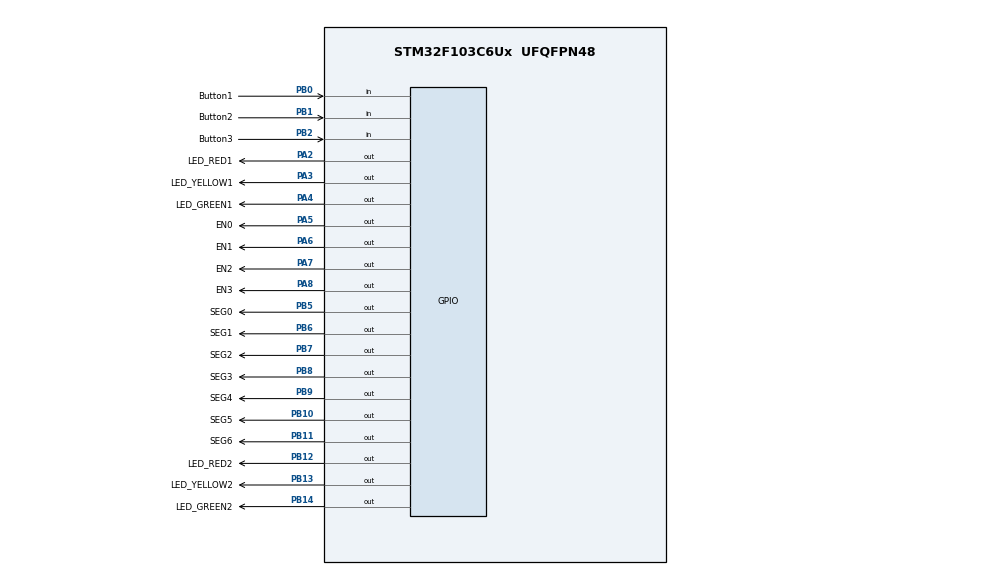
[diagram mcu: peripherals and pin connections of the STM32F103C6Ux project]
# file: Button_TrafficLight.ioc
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Mcu.Family=STM32F1
Mcu.Name=STM32F103C6Ux
Mcu.Package=UFQFPN48
NVIC.PriorityGroup=NVIC_PRIORITYGROUP_4
NVIC.TIM2_IRQn=true\:0\:0\:false\:false\:true\:true\:true
PA0-WKUP.Mode=SYS_WakeUp0
PA0-WKUP.Signal=SYS_WKUP
PA13.Mode=Serial_Wire
PA13.Signal=SYS_JTMS-SWDIO
PA14.Mode=Serial_Wire
PA14.Signal=SYS_JTCK-SWCLK
PA2.GPIO_Label=LED_RED1
PA2.Signal=GPIO_Output
PA3.GPIO_Label=LED_YELLOW1
PA3.Signal=GPIO_Output
PA4.GPIO_Label=LED_GREEN1
PA4.Signal=GPIO_Output
PA5.GPIO_Label=EN0
PA5.Signal=GPIO_Output
PA6.GPIO_Label=EN1
PA6.Signal=GPIO_Output
PA7.GPIO_Label=EN2
PA7.Signal=GPIO_Output
PA8.GPIO_Label=EN3
PA8.Signal=GPIO_Output
PB0.GPIO_Label=Button1
PB0.GPIO_PuPd=GPIO_PULLUP
PB0.Signal=GPIO_Input
PB1.GPIO_Label=Button2
PB1.GPIO_PuPd=GPIO_PULLUP
PB1.Signal=GPIO_Input
PB10.GPIO_Label=SEG5
PB10.Signal=GPIO_Output
PB11.GPIO_Label=SEG6
PB11.Signal=GPIO_Output
PB12.GPIO_Label=LED_RED2
PB12.Signal=GPIO_Output
PB13.GPIO_Label=LED_YELLOW2
PB13.Signal=GPIO_Output
PB14.GPIO_Label=LED_GREEN2
PB14.Signal=GPIO_Output
PB2.GPIO_Label=Button3
PB2.GPIO_PuPd=GPIO_PULLUP
PB2.Signal=GPIO_Input
PB5.GPIO_Label=SEG0
PB5.Signal=GPIO_Output
PB6.GPIO_Label=SEG1
PB6.Signal=GPIO_Output
PB7.GPIO_Label=SEG2
PB7.Signal=GPIO_Output
PB8.GPIO_Label=SEG3
PB8.Signal=GPIO_Output
PB9.GPIO_Label=SEG4
PB9.Signal=GPIO_Output
ProjectManager.HeapSize=0x200
ProjectManager.StackSize=0x400
ProjectManager.TargetToolchain=STM32CubeIDE
RCC.APB1Freq_Value=8000000
RCC.APB2Freq_Value=8000000
TIM2.Period=9
TIM2.Prescaler=7999
VP_TIM2_VS_ClockSourceINT.Mode=Internal
board=custom

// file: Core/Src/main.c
/* USER CODE BEGIN Header */
/**
  ******************************************************************************
  * @file           : main.c
  * @brief          : Main program body
  ******************************************************************************
  * @attention
  *
  * <h2><center>&copy; Copyright (c) 2025 STMicroelectronics.
  * All rights reserved.</center></h2>
  *
  * This software component is licensed by ST under BSD 3-Clause license,
  * the "License"; You may not use this file except in compliance with the
  * License. You may obtain a copy of the License at:
  *                        opensource.org/licenses/BSD-3-Clause
  *
  ******************************************************************************
  */
/* USER CODE END Header */
#include "main.h"

/* USER CODE BEGIN Includes */
#include "Process.h"

/* USER CODE END Includes */

TIM_HandleTypeDef htim2;

/* USER CODE BEGIN PV */
btn_typedef btn[N0_OF_BUTTONS];
RGB_TrafficLight_t tl1;
RGB_TrafficLight_t tl2;
/* USER CODE END PV */

void SystemClock_Config(void);
static void MX_GPIO_Init(void);
static void MX_TIM2_Init(void);

int main(void)
{

  /* MCU Configuration--------------------------------------------------------*/

  /* Reset of all peripherals, Initializes the Flash interface and the Systick. */
  HAL_Init();

  /* Configure the system clock */
  SystemClock_Config();

  /* USER CODE BEGIN SysInit */

  //************************ RGB LEDs Init ********************************//
  RGB_TrafficLight_Init(&tl1, LED_RED1_Pin, LED_YELLOW1_Pin, LED_GREEN1_Pin,
  	LED_RED1_GPIO_Port, LED_YELLOW1_GPIO_Port, LED_GREEN1_GPIO_Port);
  RGB_TrafficLight_Init(&tl2, LED_RED2_Pin, LED_YELLOW2_Pin, LED_GREEN2_Pin,
	LED_RED2_GPIO_Port, LED_YELLOW2_GPIO_Port, LED_GREEN2_GPIO_Port);
//
//  //************************ Button Init ********************************//
  Button_Init(&btn[0], Button1_Pin, Button1_GPIO_Port);
  Button_Init(&btn[1], Button2_Pin, Button2_GPIO_Port);
  Button_Init(&btn[2], Button3_Pin, Button3_GPIO_Port);

  /* USER CODE END SysInit */

  /* Initialize all configured peripherals */
  MX_GPIO_Init();
  MX_TIM2_Init();
  /* USER CODE BEGIN 2 */
  	HAL_TIM_Base_Start_IT(&htim2);
  	settimer_index(0, 10);
	settimer_index(1, 10);
	settimer_index(2, 10);

  /* USER CODE END 2 */

  /* Infinite loop */
  /* USER CODE BEGIN WHILE */
  while (1)
  {
//	  fsm_processing_trafficlight(&tl1, &tl2);
	  fsm_processing_system(btn, &tl1, &tl2);
    /* USER CODE END WHILE */

  }
}

void SystemClock_Config(void)
{
  RCC_OscInitTypeDef RCC_OscInitStruct = {0};
  RCC_ClkInitTypeDef RCC_ClkInitStruct = {0};

  /** Initializes the RCC Oscillators according to the specified parameters
  * in the RCC_OscInitTypeDef structure.
  */
  RCC_OscInitStruct.OscillatorType = RCC_OSCILLATORTYPE_HSI;
  RCC_OscInitStruct.HSIState = RCC_HSI_ON;
  RCC_OscInitStruct.HSICalibrationValue = RCC_HSICALIBRATION_DEFAULT;
  RCC_OscInitStruct.PLL.PLLState = RCC_PLL_NONE;
  if (HAL_RCC_OscConfig(&RCC_OscInitStruct) != HAL_OK)
  {
    Error_Handler();
  }
  /** Initializes the CPU, AHB and APB buses clocks
  */
  RCC_ClkInitStruct.ClockType = RCC_CLOCKTYPE_HCLK|RCC_CLOCKTYPE_SYSCLK
                              |RCC_CLOCKTYPE_PCLK1|RCC_CLOCKTYPE_PCLK2;
  RCC_ClkInitStruct.SYSCLKSource = RCC_SYSCLKSOURCE_HSI;
  RCC_ClkInitStruct.AHBCLKDivider = RCC_SYSCLK_DIV1;
  RCC_ClkInitStruct.APB1CLKDivider = RCC_HCLK_DIV1;
  RCC_ClkInitStruct.APB2CLKDivider = RCC_HCLK_DIV1;

  if (HAL_RCC_ClockConfig(&RCC_ClkInitStruct, FLASH_LATENCY_0) != HAL_OK)
  {
    Error_Handler();
  }
}

static void MX_TIM2_Init(void)
{

  TIM_ClockConfigTypeDef sClockSourceConfig = {0};
  TIM_MasterConfigTypeDef sMasterConfig = {0};

  htim2.Instance = TIM2;
  htim2.Init.Prescaler = 7999;
  htim2.Init.CounterMode = TIM_COUNTERMODE_UP;
  htim2.Init.Period = 9;
  htim2.Init.ClockDivision = TIM_CLOCKDIVISION_DIV1;
  htim2.Init.AutoReloadPreload = TIM_AUTORELOAD_PRELOAD_DISABLE;
  if (HAL_TIM_Base_Init(&htim2) != HAL_OK)
  {
    Error_Handler();
  }
  sClockSourceConfig.ClockSource = TIM_CLOCKSOURCE_INTERNAL;
  if (HAL_TIM_ConfigClockSource(&htim2, &sClockSourceConfig) != HAL_OK)
  {
    Error_Handler();
  }
  sMasterConfig.MasterOutputTrigger = TIM_TRGO_RESET;
  sMasterConfig.MasterSlaveMode = TIM_MASTERSLAVEMODE_DISABLE;
  if (HAL_TIMEx_MasterConfigSynchronization(&htim2, &sMasterConfig) != HAL_OK)
  {
    Error_Handler();
  }

}

static void MX_GPIO_Init(void)
{
  GPIO_InitTypeDef GPIO_InitStruct = {0};

  /* GPIO Ports Clock Enable */
  __HAL_RCC_GPIOA_CLK_ENABLE();
  __HAL_RCC_GPIOB_CLK_ENABLE();

  /*Configure GPIO pin Output Level */
  HAL_GPIO_WritePin(GPIOA, LED_RED1_Pin|LED_YELLOW1_Pin|LED_GREEN1_Pin|EN0_Pin
                          |EN1_Pin|EN2_Pin|EN3_Pin, GPIO_PIN_RESET);

  /*Configure GPIO pin Output Level */
  HAL_GPIO_WritePin(GPIOB, SEG5_Pin|SEG6_Pin|LED_RED2_Pin|LED_YELLOW2_Pin
                          |LED_GREEN2_Pin|SEG0_Pin|SEG1_Pin|SEG2_Pin
                          |SEG3_Pin|SEG4_Pin, GPIO_PIN_RESET);

  /*Configure GPIO pins : LED_RED1_Pin LED_YELLOW1_Pin LED_GREEN1_Pin EN0_Pin
                           EN1_Pin EN2_Pin EN3_Pin */
  GPIO_InitStruct.Pin = LED_RED1_Pin|LED_YELLOW1_Pin|LED_GREEN1_Pin|EN0_Pin
                          |EN1_Pin|EN2_Pin|EN3_Pin;
  GPIO_InitStruct.Mode = GPIO_MODE_OUTPUT_PP;
  GPIO_InitStruct.Pull = GPIO_NOPULL;
  GPIO_InitStruct.Speed = GPIO_SPEED_FREQ_LOW;
  HAL_GPIO_Init(GPIOA, &GPIO_InitStruct);

  /*Configure GPIO pins : Button1_Pin Button2_Pin Button3_Pin */
  GPIO_InitStruct.Pin = Button1_Pin|Button2_Pin|Button3_Pin;
  GPIO_InitStruct.Mode = GPIO_MODE_INPUT;
  GPIO_InitStruct.Pull = GPIO_PULLUP;
  HAL_GPIO_Init(GPIOB, &GPIO_InitStruct);

  /*Configure GPIO pins : SEG5_Pin SEG6_Pin LED_RED2_Pin LED_YELLOW2_Pin
                           LED_GREEN2_Pin SEG0_Pin SEG1_Pin SEG2_Pin
                           SEG3_Pin SEG4_Pin */
  GPIO_InitStruct.Pin = SEG5_Pin|SEG6_Pin|LED_RED2_Pin|LED_YELLOW2_Pin
                          |LED_GREEN2_Pin|SEG0_Pin|SEG1_Pin|SEG2_Pin
                          |SEG3_Pin|SEG4_Pin;
  GPIO_InitStruct.Mode = GPIO_MODE_OUTPUT_PP;
  GPIO_InitStruct.Pull = GPIO_NOPULL;
  GPIO_InitStruct.Speed = GPIO_SPEED_FREQ_LOW;
  HAL_GPIO_Init(GPIOB, &GPIO_InitStruct);

}

/* USER CODE BEGIN 4 */
void HAL_TIM_PeriodElapsedCallback(TIM_HandleTypeDef *htim){
	if(htim->Instance == TIM2){
		runtime();
		button_reading(&btn[0]);
		button_reading(&btn[1]);
		button_reading(&btn[2]);
	}
}
/* USER CODE END 4 */

void Error_Handler(void)
{
  __disable_irq();
  while (1)
  {
  }
}

/************************ (C) COPYRIGHT STMicroelectronics *****END OF FILE****/
